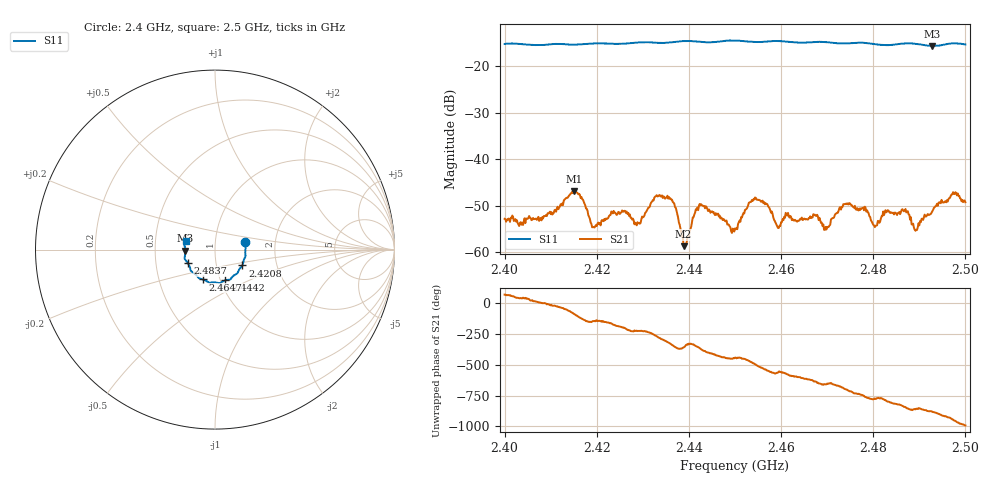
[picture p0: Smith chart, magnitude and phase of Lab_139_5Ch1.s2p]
# Hz S RI R 50
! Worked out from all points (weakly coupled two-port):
!   601 points, 2.4 GHz to 2.5 GHz, reference 50 ohm
!   highest |S21| = -46.76 dB at 2.4152 GHz (marker M1); lowest = -58.7 dB at 2.4388 GHz (marker M2)
!   lowest |S11| = -15.6 dB at 2.4928 GHz (marker M3), VSWR 1.40, Z = 35.8 - j0.432 ohm
!   |S11| at or under -10 dB: start of sweep to end of sweep
!   S12 and S22 are empty: the file has one direction only
!   S11 on the Smith chart (normalised r, x): 2.4 GHz: 1.40, +0.12; 2.4208 GHz: 1.33, -0.24; 2.4442 GHz: 1.05, -0.37; 2.4647 GHz: 0.83, -0.29; 2.4837 GHz: 0.73, -0.11; 2.5 GHz: 0.71, +0.07
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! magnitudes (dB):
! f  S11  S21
! 2.4 GHz  -15.2  -52.8
! 2.408 GHz  -15.4  -53.1
! 2.4152 GHz  -15.4  -46.8
! 2.4167 GHz  -15.3  -48.1
! 2.4192 GHz  -15.1  -54.6
! 2.4208 GHz  -15.1  -54.2
! 2.429 GHz  -14.9  -53.7
! 2.4333 GHz  -15.0  -47.9
! 2.4367 GHz  -14.8  -49.3
! 2.4388 GHz  -14.6  -58.7
! 2.442 GHz  -14.7  -50.9
! 2.4442 GHz  -14.9  -51.1
! 2.45 GHz  -14.5  -54.8
! 2.4542 GHz  -14.8  -48.6
! 2.4593 GHz  -14.6  -54.7
! 2.4647 GHz  -14.9  -53.0
! 2.4667 GHz  -14.8  -52.4
! 2.4833 GHz  -15.5  -51.0
! 2.4837 GHz  -15.4  -51.5
! 2.4892 GHz  -15.2  -55.3
! 2.4928 GHz  -15.6  -51.1
! 2.5 GHz  -15.3  -49.2
